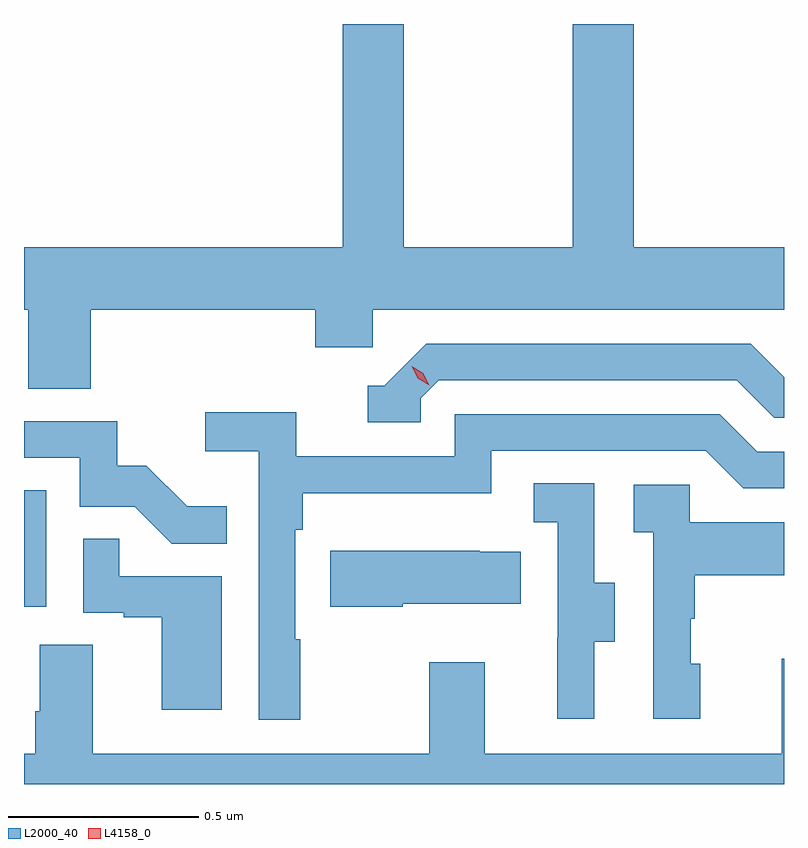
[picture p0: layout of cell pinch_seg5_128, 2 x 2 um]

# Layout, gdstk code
import gdstk
lib = gdstk.Library(unit=1e-6, precision=1e-09)
def R(c, l, rs):  # rectangles x0, y0, x1, y1
    for r in rs: c.add(gdstk.rectangle(r[:2], r[2:], *l))
def P(c, l, *ps):  # polygons
    for p in ps: c.add(gdstk.Polygon(p, *l))
L2000_40 = (2000, 40)
L4158_0 = (4158, 0)

pinch_seg5_128 = lib.new_cell('pinch_seg5_128')
R(pinch_seg5_128, L2000_40, [(1072.518,889.278,1072.576,889.585)])
P(pinch_seg5_128, L2000_40, [(1072.694,890.06),(1073.285,890.06),(1073.285,889.962),(1073.436,889.962),(1073.436,890.06),(1074.518,890.06),(1074.518,890.224),(1074.122,890.224),(1074.122,890.812),(1073.962,890.812),(1073.962,890.224),(1073.517,890.224),(1073.517,890.812),(1073.357,890.812),(1073.357,890.224),(1072.518,890.224),(1072.518,890.06),(1072.529,890.06),(1072.529,889.852),(1072.694,889.852)],
  [(1073.562,889.827),(1073.61,889.875),(1074.393,889.875),(1074.492,889.776),(1074.518,889.776),(1074.518,889.883),(1074.43,889.971),(1073.577,889.971),(1073.466,889.86),(1073.423,889.86),(1073.423,889.764),(1073.562,889.764)],
  [(1073.245,889.193),(1073.232,889.193),(1073.232,889.481),(1073.252,889.481),(1073.252,889.577),(1073.748,889.577),(1073.748,889.689),(1074.312,889.689),(1074.411,889.59),(1074.518,889.59),(1074.518,889.686),(1074.448,889.686),(1074.349,889.785),(1073.652,889.785),(1073.652,889.674),(1073.234,889.674),(1073.234,889.79),(1072.995,889.79),(1072.995,889.688),(1073.136,889.688),(1073.136,888.981),(1073.245,888.981)],
  [(1073.051,889.543),(1072.947,889.543),(1072.84,889.65),(1072.764,889.65),(1072.764,889.767),(1072.518,889.767),(1072.518,889.671),(1072.665,889.671),(1072.665,889.542),(1072.809,889.542),(1072.907,889.444),(1073.051,889.444)],
  [(1074.019,889.186),(1074.073,889.186),(1074.073,889.341),(1074.018,889.341),(1074.018,889.604),(1073.859,889.604),(1073.859,889.501),(1073.922,889.501),(1073.922,889.197),(1073.921,889.197),(1073.921,888.984),(1074.019,888.984)],
  [(1074.298,889.128),(1074.273,889.128),(1074.273,889.247),(1074.283,889.247),(1074.283,889.361),(1074.518,889.361),(1074.518,889.501),(1074.27,889.501),(1074.27,889.599),(1074.123,889.599),(1074.123,889.475),(1074.174,889.475),(1074.174,888.984),(1074.298,888.984)],
  [(1073.038,889.359),(1072.769,889.359),(1072.769,889.457),(1072.674,889.457),(1072.674,889.263),(1072.781,889.263),(1072.781,889.251),(1072.88,889.251),(1072.88,889.008),(1073.038,889.008)],
  [(1073.515,889.286),(1073.825,889.286),(1073.825,889.423),(1073.717,889.423),(1073.717,889.426),(1073.324,889.426),(1073.324,889.279),(1073.515,889.279)],
  [(1074.518,889.141),(1074.512,889.141),(1074.512,888.892),(1073.731,888.892),(1073.731,889.132),(1073.584,889.132),(1073.584,888.892),(1072.699,888.892),(1072.699,889.178),(1072.559,889.178),(1072.559,889.004),(1072.547,889.004),(1072.547,888.892),(1072.518,888.892),(1072.518,888.812),(1074.518,888.812)])
P(pinch_seg5_128, L4158_0, [(1073.585,889.861),(1073.554,889.88),(1073.538,889.912),(1073.538,889.912),(1073.538,889.912),(1073.569,889.893),(1073.585,889.861),(1073.585,889.861)])

lib.write_gds('pinch_seg5_128.gds')
